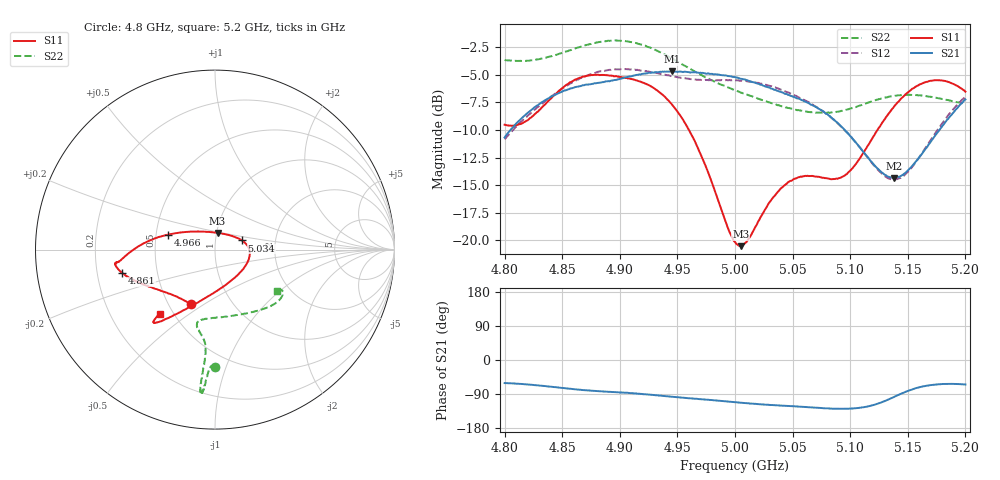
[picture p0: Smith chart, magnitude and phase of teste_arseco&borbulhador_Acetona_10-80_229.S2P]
! Network Analyzer HP8722D
! Hewlett-Packard
! Data name: Linha & Wilkinson
! Saver's name: Rodrigo Anjos
! Comments: Teste da utilização de aquisição
! continua pelo VNA HP8722D
! Time and date: 17/4/2025 16:16
!  Frequency  S11  S21  S12  S22
# HZ  S  MA R 50
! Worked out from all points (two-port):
!   401 points, 4.8 GHz to 5.2 GHz, reference 50 ohm
!   highest |S21| = -4.69 dB at 4.945 GHz (marker M1); lowest = -14.4 dB at 5.138 GHz (marker M2)
!   |S21| within 3 dB of the highest: 4.83 GHz to 5.066 GHz (236 MHz wide, 4.77 % of centre); 5.195654 GHz to end of sweep
!   lowest |S11| = -20.5 dB at 5.005 GHz (marker M3), VSWR 1.21, Z = 50.6 + j9.49 ohm
!   |S11| at or under -10 dB: 4.96 GHz to 5.124 GHz (163.7 MHz wide, 3.25 % of centre)
!   |S22| runs from -8.5 to -1.9 dB; largest |S21 - S12| = 0.87
!   S11 on the Smith chart (normalised r, x): 4.8 GHz: 0.64, -0.44; 4.861 GHz: 0.31, -0.11; 4.966 GHz: 0.58, +0.10; 5.034 GHz: 1.34, +0.14; 5.2 GHz: 0.42, -0.39
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4.8e9  0.3338 -113.9  0.2922 -60.9  0.2871 -175.1  0.6559 -90.2
4.819e9  0.3479 -133.9  0.3742 -64.2  0.3618 -173.9  0.6506 -91.8
4.861e9  0.5338 -165.8  0.4938 -77.2  0.5269 -177.1  0.7382 -94.1
4.867e9  0.5485 -168.2  0.502 -79.1  0.5447 -178.3  0.7556 -94.2
4.899e9  0.5505 -172.7  0.5364 -85.4  0.5953 175.2  0.8021 -95.6
4.934e9  0.4705 -178.5  0.5782 -93.9  0.5694 171.6  0.7149 -96.0
4.945e9  0.4142 176.3  0.5825 -96.9  0.5558 171.8  0.6674 -95.7
4.966e9  0.2747 162.3  0.5771 -102.3  0.5348 173.5  0.5782 -95.2
5e9  0.09826 99.2  0.5489 -111.4  0.5293 175.9  0.4788 -99.2
5.005e9  0.09407 81.1  0.5388 -112.8  0.5274 176.0  0.4669 -100.5
5.012e9  0.1019 57.9  0.5267 -114.3  0.5232 175.7  0.4536 -101.8
5.034e9  0.1583 18.7  0.4801 -119.4  0.4932 174.5  0.4151 -103.5
5.049e9  0.1861 3.7  0.4505 -121.7  0.4609 174.0  0.3945 -99.9
5.067e9  0.1958 -15.5  0.41 -125.2  0.4137 173.5  0.38 -90.2
5.085e9  0.1894 -43.8  0.3543 -128.6  0.3538 173.6  0.3803 -76.7
5.097e9  0.1993 -68.1  0.3088 -128.7  0.3093 174.7  0.3906 -67.0
5.134e9  0.3783 -117.2  0.1935 -103.1  0.1902 -155.9  0.4473 -43.0
5.138e9  0.4028 -119.5  0.1912 -97.5  0.1886 -149.6  0.4505 -41.3
5.151e9  0.4715 -125.1  0.2093 -80.5  0.2068 -130.0  0.4563 -36.5
5.17e9  0.5279 -129.4  0.2802 -66.2  0.2851 -112.2  0.4468 -32.2
5.184e9  0.5235 -130.6  0.3512 -63.1  0.3619 -107.4  0.4325 -31.2
5.2e9  0.4712 -130.9  0.4345 -64.7  0.4473 -106.8  0.4153 -33.5
